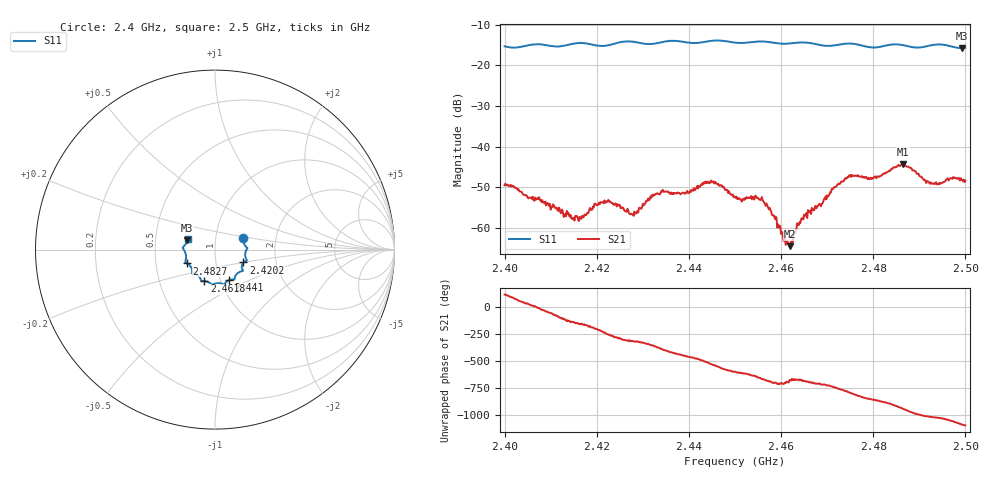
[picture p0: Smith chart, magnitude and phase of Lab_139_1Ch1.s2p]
# Hz S RI R 50
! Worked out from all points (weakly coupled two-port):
!   601 points, 2.4 GHz to 2.5 GHz, reference 50 ohm
!   highest |S21| = -44.36 dB at 2.4865 GHz (marker M1); lowest = -64.5 dB at 2.462 GHz (marker M2)
!   lowest |S11| = -15.8 dB at 2.4993 GHz (marker M3), VSWR 1.39, Z = 36.5 + j3.84 ohm
!   |S11| at or under -10 dB: start of sweep to end of sweep
!   S12 and S22 are empty: the file has one direction only
!   S11 on the Smith chart (normalised r, x): 2.4 GHz: 1.36, +0.18; 2.4202 GHz: 1.36, -0.20; 2.441 GHz: 1.10, -0.39; 2.4618 GHz: 0.84, -0.30; 2.4827 GHz: 0.72, -0.12; 2.5 GHz: 0.73, +0.09
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2.4e9  0.1587 0.063  -0.00117 0.00315  0 0  0 0
2.414667e9  0.1747 -0.0538  -0.000994 -0.00082  0 0  0 0
2.416667e9  0.1773 -0.0611  -0.0012 -0.000501  0 0  0 0
2.420167e9  0.1585 -0.0715  -0.00167 0.00101  0 0  0 0
2.422667e9  0.149 -0.0942  -0.0003 0.0021  0 0  0 0
2.4275e9  0.1547 -0.1194  0.00105 0.00106  0 0  0 0
2.433333e9  0.1115 -0.151  0.0025 -0.000781  0 0  0 0
2.441e9  0.0787 -0.1698  -0.00113 -0.00264  0 0  0 0
2.445167e9  0.0516 -0.1935  -0.0037 -0.000145  0 0  0 0
2.45e9  0.0284 -0.1874  -0.00119 0.0021  0 0  0 0
2.456e9  -0.0162 -0.195  0.00135 0.0017  0 0  0 0
2.461833e9  -0.059 -0.1753  0.00045 0.000404  0 0  0 0
2.462e9  -0.0604 -0.1753  0.000426 0.000419  0 0  0 0
2.464e9  -0.0736 -0.1752  0.000786 0.000875  0 0  0 0
2.466667e9  -0.0789 -0.1684  0.00164 0.000652  0 0  0 0
2.4745e9  -0.1266 -0.1341  0.00167 -0.00394  0 0  0 0
2.482667e9  -0.156 -0.0774  -0.00447 -0.00137  0 0  0 0
2.483333e9  -0.1604 -0.0753  -0.00492 -0.000751  0 0  0 0
2.4865e9  -0.1646 -0.0635  -0.00448 0.00408  0 0  0 0
2.492667e9  -0.1763 0.00287  0.0016 0.00313  0 0  0 0
2.499333e9  -0.154 0.0512  0.00384 -0.00046  0 0  0 0
2.5e9  -0.1521 0.0608  0.00368 -0.000998  0 0  0 0
